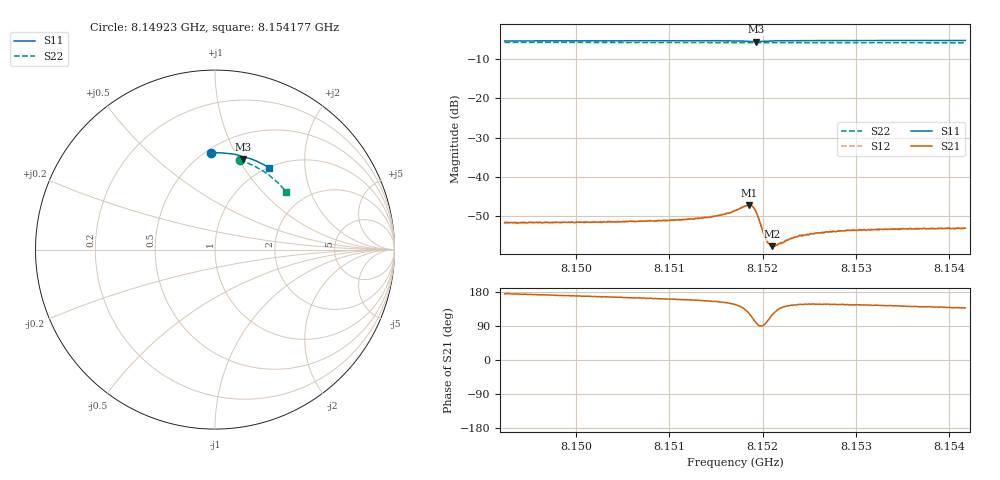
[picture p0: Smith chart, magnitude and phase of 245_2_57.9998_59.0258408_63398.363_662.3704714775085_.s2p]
#  HZ  S  RI  R  50.00
! Rohde & Schwarz Vector Network Analyzer
! Rohde-Schwarz,ZNB20-2Port,1311601062101988,3.16
! Created: UTC 3/21/2024, 1:01:14 AM
! freq[Hz]  re:S11  im:S11  re:S21  im:S21  re:S12  im:S12  re:S22  im:S22
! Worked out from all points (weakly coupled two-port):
!   401 points, 8.14923 GHz to 8.154177 GHz, reference 50 ohm
!   highest |S21| = -47.14 dB at 8.151852 GHz (marker M1); lowest = -57.6 dB at 8.152099 GHz (marker M2)
!   lowest |S11| = -5.5 dB at 8.151926 GHz (marker M3), VSWR 3.24, Z = 37.2 + j52.1 ohm
!   |S11| at or under -10 dB: nowhere
!   |S22| runs from -5.9 to -5.7 dB; largest |S21 - S12| = 0.00012
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8.1492298e9  -0.024 0.5381  -0.0026 0.000242  -0.00266 0.000254  0.1378 0.4972
8.1500585e9  0.034 0.5388  -0.00261 0.000543  -0.0026 0.000582  0.1883 0.4791
8.1508871e9  0.0918 0.5335  -0.00263 0.000876  -0.00267 0.000943  0.2369 0.4562
8.1511592e9  0.1109 0.5301  -0.0027 0.00104  -0.00267 0.00108  0.2522 0.4476
8.1514313e9  0.1304 0.5258  -0.00284 0.0013  -0.00285 0.00133  0.2671 0.4383
8.1515797e9  0.1412 0.5226  -0.00294 0.00158  -0.00296 0.00164  0.2752 0.4331
8.1517034e9  0.151 0.5185  -0.00313 0.00208  -0.0031 0.00211  0.2818 0.4287
8.1518518e9  0.1593 0.5078  -0.00244 0.00366  -0.00241 0.00374  0.2894 0.4229
8.1518889e9  0.1579 0.505  -0.00157 0.00397  -0.00153 0.00398  0.2911 0.4215
8.151926e9  0.1554 0.5049  -0.000608 0.00365  -0.000557 0.00366  0.2928 0.4201
8.1519508e9  0.1545 0.5064  -0.000169 0.00313  -0.00013 0.00316  0.2942 0.4193
8.1520126e9  0.1571 0.5111  -8.98e-05 0.00187  -3.89e-05 0.00191  0.2974 0.4174
8.1520373e9  0.1592 0.5123  -0.000239 0.00159  -0.000213 0.00158  0.2987 0.4163
8.1520621e9  0.1615 0.5129  -0.000391 0.00138  -0.000393 0.00138  0.2999 0.4153
8.1520992e9  0.1649 0.5133  -0.000632 0.00116  -0.000591 0.0012  0.3019 0.4141
8.1521363e9  0.1682 0.5133  -0.000799 0.00106  -0.000836 0.00112  0.3038 0.4127
8.1522847e9  0.1801 0.5114  -0.0013 0.000973  -0.0013 0.000987  0.3115 0.4068
8.152396e9  0.1883 0.5091  -0.00152 0.000997  -0.0015 0.00104  0.3169 0.4023
8.1525321e9  0.1979 0.5061  -0.00161 0.00102  -0.0016 0.00104  0.3238 0.3966
8.1528289e9  0.2178 0.4986  -0.00172 0.00115  -0.00176 0.00113  0.3379 0.3843
8.1533607e9  0.2518 0.4834  -0.00175 0.00129  -0.00175 0.00133  0.3621 0.3605
8.154177e9  0.3012 0.4555  -0.00164 0.00152  -0.00163 0.00157  0.3958 0.3211
